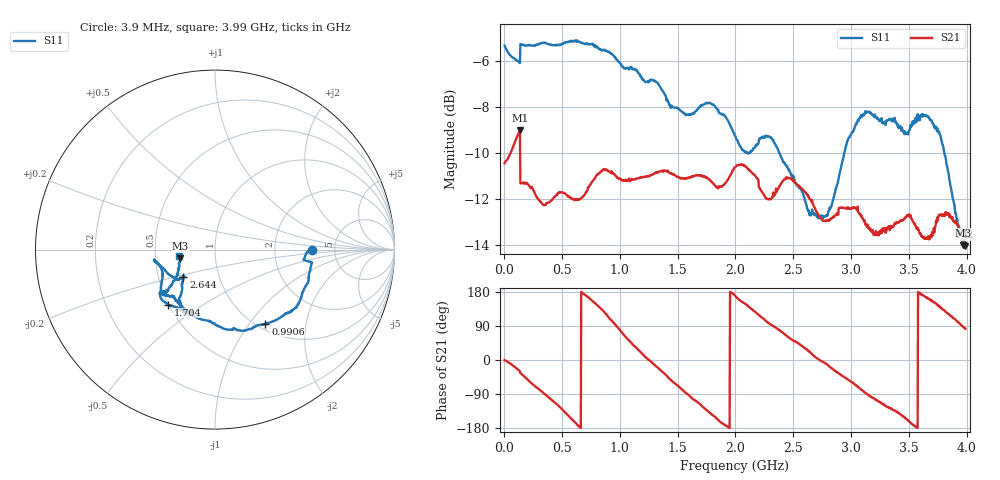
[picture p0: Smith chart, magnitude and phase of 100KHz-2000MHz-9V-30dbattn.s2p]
# HZ S RI R 50
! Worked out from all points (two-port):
!   1023 points, 3.9 MHz to 3.99 GHz, reference 50 ohm
!   highest |S21| = -9.00 dB at 136.5 MHz (marker M1); lowest = -14.0 dB at 3.99 GHz (marker M2)
!   |S21| within 3 dB of the highest: 649.2 MHz to 2.301 GHz (1.652 GHz wide, 112 % of centre); 2.301 GHz to 2.648 GHz (347.1 MHz wide, 14 % of centre)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
!   lowest |S11| = -14.0 dB at 3.97 GHz (marker M3), VSWR 1.50, Z = 33.7 - j3.44 ohm
!   |S11| at or under -10 dB: 2.110837 GHz to 2.115564 GHz (4.727 MHz wide, 0.224 % of centre); 2.381 GHz to 2.941 GHz (560 MHz wide, 21 % of centre); 3.808 GHz to end of sweep
!   S12 and S22 are empty: the file has one direction only
!   S11 on the Smith chart (normalised r, x): 3.9 MHz: 3.36, +0.00; 990.6 MHz: 1.09, -1.20; 1.704 GHz: 0.50, -0.36; 2.644 GHz: 0.67, -0.22; 3.99 GHz: 0.67, -0.05
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3900000  0.5417 0.000144  0.3009 6.68e-05  0 0  0 0
1.365e8  0.493 -0.0578  0.3086 -0.1747  0 0  0 0
4.407e8  0.4943 -0.2239  -0.0991 -0.2351  0 0  0 0
6.708e8  0.4345 -0.3353  -0.253 0.00576  0 0  0 0
8.346e8  0.3939 -0.3566  -0.208 0.1997  0 0  0 0
9.906e8  0.2808 -0.4125  0.0341 0.277  0 0  0 0
1.1661e9  0.1373 -0.45  0.2526 0.1197  0 0  0 0
1.3338e9  0.0564 -0.4427  0.2679 -0.1056  0 0  0 0
1.5171e9  -0.096 -0.3814  0.0864 -0.2659  0 0  0 0
1.7043e9  -0.2602 -0.3069  -0.1402 -0.2446  0 0  0 0
1.9968e9  -0.2967 -0.1765  -0.2904 0.0503  0 0  0 0
2.1723e9  -0.3168 -0.0795  -0.169 0.2265  0 0  0 0
2.3712e9  -0.3092 -0.0866  0.0445 0.2612  0 0  0 0
2.6442e9  -0.1757 -0.1544  0.2347 0.0908  0 0  0 0
2.6637e9  -0.1791 -0.158  0.2415 0.0662  0 0  0 0
2.8119e9  -0.1785 -0.1576  0.2159 -0.0665  0 0  0 0
3.0381e9  -0.1903 -0.3094  0.0979 -0.22  0 0  0 0
3.3267e9  -0.1422 -0.3456  -0.1297 -0.1759  0 0  0 0
3.5139e9  -0.2488 -0.2649  -0.2248 -0.0586  0 0  0 0
3.7518e9  -0.2639 -0.2327  -0.1856 0.1297  0 0  0 0
3.9702e9  -0.1934 -0.0491  0.00752 0.2082  0 0  0 0
3.9897e9  -0.1983 -0.0356  0.0268 0.197  0 0  0 0
